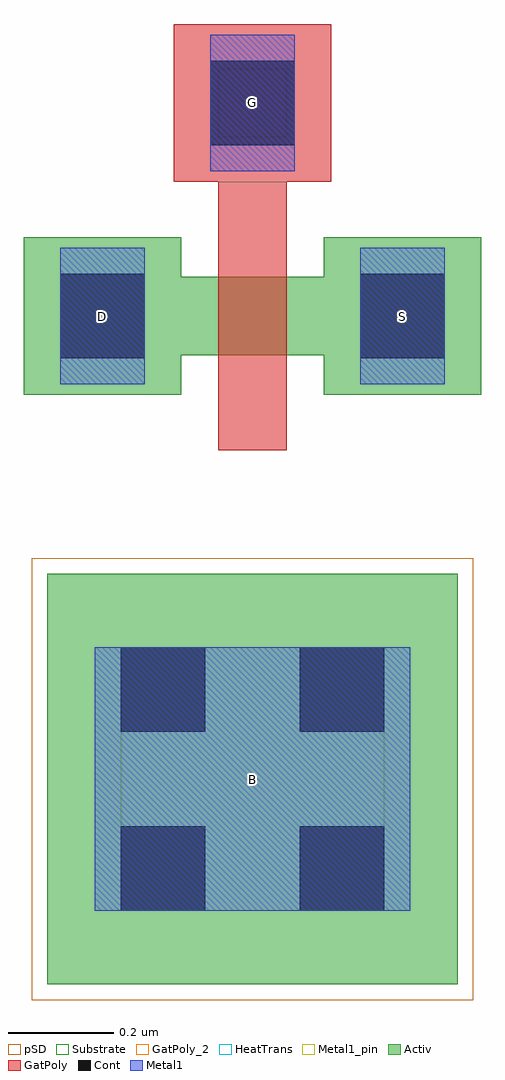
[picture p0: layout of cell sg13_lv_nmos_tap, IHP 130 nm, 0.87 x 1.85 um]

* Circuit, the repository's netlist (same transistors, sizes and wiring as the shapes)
** sch_path: /foss/designs/ihp-open-pdk-regression/LVS-testbenches/schematic/sg13_lv_nmos_tap.sch
.subckt sg13_lv_nmos_tap D S G B
*.PININFO D:B S:B G:B B:B
MM1 D G S net1 sg13_lv_nmos w=0.15u l=0.13u ng=1
RR1 B net1 ptap1 A=6.084e-13 P=3.12e-06
.ends

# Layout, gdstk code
from math import pi, radians
import gdstk
lib = gdstk.Library(unit=1e-6, precision=5e-09)
def R(c, l, rs):  # rectangles x0, y0, x1, y1
    for r in rs: c.add(gdstk.rectangle(r[:2], r[2:], *l))
Activ = (1, 0)
GatPoly = (5, 0)
GatPoly_2 = (5, 2)
Cont = (6, 0)
Metal1 = (8, 0)
Metal1_pin = (8, 2)
pSD = (14, 0)
Substrate = (40, 0)
HeatTrans = (51, 0)

nmos = lib.new_cell('nmos')
R(nmos, Activ, [(0,0,0.3,0.3), (0.57,0,0.87,0.3), (0,0.075,0.87,0.225)])
R(nmos, GatPoly, [(0.37,-0.105,0.5,0.405)])
R(nmos, GatPoly_2, [(0.37,-0.105,0.5,0.405)])
R(nmos, Cont, [(0.07,0.07,0.23,0.23), (0.64,0.07,0.8,0.23)])
R(nmos, Metal1, [(0.07,0.02,0.23,0.28), (0.64,0.02,0.8,0.28)])
R(nmos, Metal1_pin, [(0.07,0.02,0.23,0.28), (0.64,0.02,0.8,0.28)])
R(nmos, HeatTrans, [(0.37,-0.105,0.5,0.405)])
nmos.add(gdstk.Label('nmos', (0.435,0.15), layer=63, texttype=0))
nmos.add(gdstk.Label('nmos', (0.435,0.15), layer=51, texttype=0))

ptap1 = lib.new_cell('ptap1')
R(ptap1, Activ, [(0,0,0.78,0.78)])
R(ptap1, Cont, [(0.14,0.14,0.3,0.3), (0.48,0.14,0.64,0.3), (0.14,0.48,0.3,0.64), (0.48,0.48,0.64,0.64)])
R(ptap1, Metal1, [(0.14,0.09,0.64,0.69), (0.14,0.14,0.64,0.64)])
R(ptap1, Metal1_pin, [(0.14,0.14,0.64,0.64)])
R(ptap1, pSD, [(-0.03,-0.03,0.81,0.81)])
R(ptap1, Substrate, [(0,0,0.78,0.78)])
ptap1.add(gdstk.Label('sub!', (0.39,0.01), layer=63, texttype=0))
ptap1.add(gdstk.Label('sub!', (0.39,0.01), layer=40, texttype=0))

via = lib.new_cell('Via')
R(via, GatPoly, [(-0.15,-0.15,0.15,0.15)])
R(via, Cont, [(-0.08,-0.08,0.08,0.08)])
R(via, Metal1, [(-0.13,-0.08,0.13,0.08)])

sg13_lv_nmos_tap = lib.new_cell('sg13_lv_nmos_tap')
R(sg13_lv_nmos_tap, Metal1_pin, [(0.37,-0.795,0.5,-0.665), (0.085,0.085,0.215,0.215), (0.655,0.085,0.785,0.215), (0.37,0.49,0.5,0.62)])
sg13_lv_nmos_tap.add(gdstk.Reference(nmos, (0,0)))
sg13_lv_nmos_tap.add(gdstk.Reference(ptap1, (0.045,-0.34), rotation=3*pi/2))
sg13_lv_nmos_tap.add(gdstk.Reference(via, (0.435,0.555), rotation=3*pi/2))
sg13_lv_nmos_tap.add(gdstk.Label('B', (0.435,-0.73), layer=8, texttype=25))
sg13_lv_nmos_tap.add(gdstk.Label('G', (0.435,0.555), layer=8, texttype=25))
sg13_lv_nmos_tap.add(gdstk.Label('D', (0.15,0.15), layer=8, texttype=25))
sg13_lv_nmos_tap.add(gdstk.Label('S', (0.72,0.15), layer=8, texttype=25))

lib.write_gds('sg13_lv_nmos_tap.gds')
